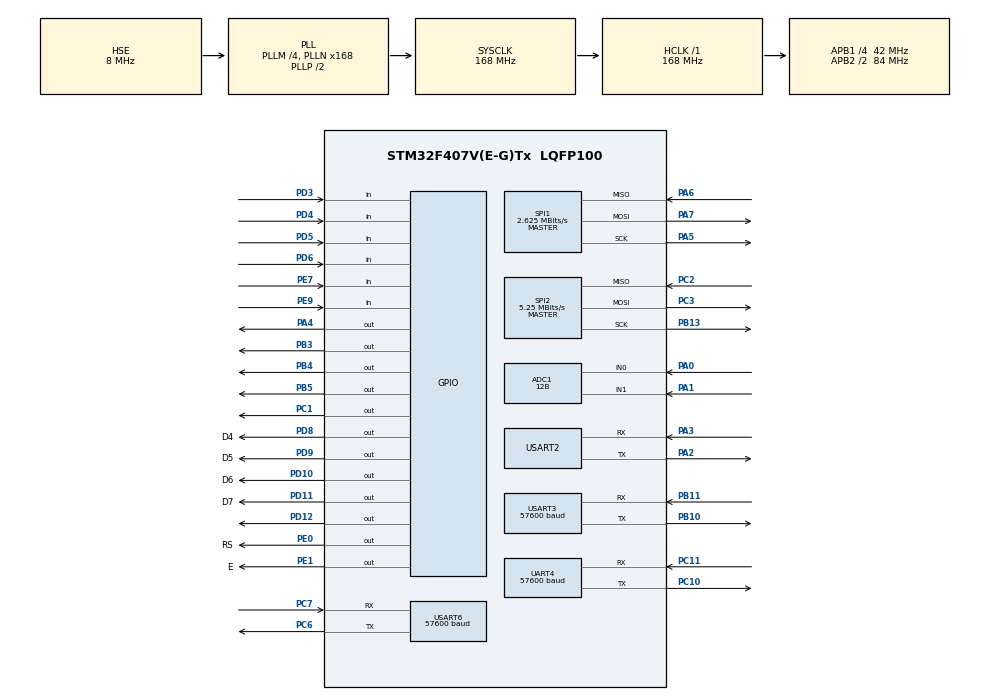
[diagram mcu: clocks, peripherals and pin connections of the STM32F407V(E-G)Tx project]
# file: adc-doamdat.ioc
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ADC1.Channel-1\#ChannelRegularConversion=ADC_CHANNEL_0
ADC1.Channel-2\#ChannelRegularConversion=ADC_CHANNEL_1
ADC1.ContinuousConvMode=ENABLE
ADC1.DMAContinuousRequests=ENABLE
ADC1.EOCSelection=ADC_EOC_SINGLE_CONV
ADC1.EnableAnalogWatchDog=false
ADC1.NbrOfConversion=2
ADC1.NbrOfConversionFlag=1
ADC1.Rank-1\#ChannelRegularConversion=1
ADC1.Rank-2\#ChannelRegularConversion=2
ADC1.Resolution=ADC_RESOLUTION_12B
ADC1.SamplingTime-1\#ChannelRegularConversion=ADC_SAMPLETIME_480CYCLES
ADC1.SamplingTime-2\#ChannelRegularConversion=ADC_SAMPLETIME_480CYCLES
ADC1.master=1
Dma.ADC1.0.Direction=DMA_PERIPH_TO_MEMORY
Dma.ADC1.0.FIFOMode=DMA_FIFOMODE_DISABLE
Dma.ADC1.0.Instance=DMA2_Stream0
Dma.ADC1.0.MemDataAlignment=DMA_MDATAALIGN_HALFWORD
Dma.ADC1.0.MemInc=DMA_MINC_ENABLE
Dma.ADC1.0.Mode=DMA_CIRCULAR
Dma.ADC1.0.PeriphDataAlignment=DMA_PDATAALIGN_HALFWORD
Dma.ADC1.0.PeriphInc=DMA_PINC_DISABLE
Dma.ADC1.0.Priority=DMA_PRIORITY_LOW
Dma.Request0=ADC1
FATFS._MAX_SS=4096
FATFS._USE_LFN=1
Mcu.Family=STM32F4
Mcu.Name=STM32F407V(E-G)Tx
Mcu.Package=LQFP100
NVIC.ADC_IRQn=true\:0\:0\:false\:false\:true\:true\:true
NVIC.DMA2_Stream0_IRQn=true\:0\:0\:false\:false\:true\:false\:true
NVIC.PriorityGroup=NVIC_PRIORITYGROUP_4
NVIC.TIM6_DAC_IRQn=true\:0\:0\:false\:false\:true\:false\:true
NVIC.TimeBase=TIM6_DAC_IRQn
NVIC.TimeBaseIP=TIM6
PA0-WKUP.Signal=ADCx_IN0
PA1.Signal=ADCx_IN1
PA13.Mode=Serial_Wire
PA13.Signal=SYS_JTMS-SWDIO
PA14.Mode=Serial_Wire
PA14.Signal=SYS_JTCK-SWCLK
PA2.Mode=Asynchronous
PA2.Signal=USART2_TX
PA3.Mode=Asynchronous
PA3.Signal=USART2_RX
PA4.Signal=GPIO_Output
PA5.Mode=Full_Duplex_Master
PA5.Signal=SPI1_SCK
PA6.Mode=Full_Duplex_Master
PA6.Signal=SPI1_MISO
PA7.Mode=Full_Duplex_Master
PA7.Signal=SPI1_MOSI
PB10.Mode=Asynchronous
PB10.Signal=USART3_TX
PB11.Mode=Asynchronous
PB11.Signal=USART3_RX
PB13.Mode=Full_Duplex_Master
PB13.Signal=SPI2_SCK
PB3.Signal=GPIO_Output
PB4.Signal=GPIO_Output
PB5.Signal=GPIO_Output
PC1.Signal=GPIO_Output
PC10.Mode=Asynchronous
PC10.Signal=UART4_TX
PC11.Mode=Asynchronous
PC11.Signal=UART4_RX
PC2.Mode=Full_Duplex_Master
PC2.Signal=SPI2_MISO
PC3.Mode=Full_Duplex_Master
PC3.Signal=SPI2_MOSI
PC6.Mode=Asynchronous
PC6.Signal=USART6_TX
PC7.Mode=Asynchronous
PC7.Signal=USART6_RX
PD10.GPIO_Label=D6
PD10.Signal=GPIO_Output
PD11.GPIO_Label=D7
PD11.Signal=GPIO_Output
PD12.Signal=GPIO_Output
PD3.Signal=GPIO_Input
PD4.Signal=GPIO_Input
PD5.Signal=GPIO_Input
PD6.Signal=GPIO_Input
PD8.GPIO_Label=D4
PD8.Signal=GPIO_Output
PD9.GPIO_Label=D5
PD9.Signal=GPIO_Output
PE0.GPIO_Label=RS
PE0.Signal=GPIO_Output
PE1.GPIO_Label=E
PE1.Signal=GPIO_Output
PE7.Signal=GPIO_Input
PE9.Signal=GPIO_Input
PH0-OSC_IN.Mode=HSE-External-Oscillator
PH0-OSC_IN.Signal=RCC_OSC_IN
PH1-OSC_OUT.Mode=HSE-External-Oscillator
PH1-OSC_OUT.Signal=RCC_OSC_OUT
ProjectManager.HeapSize=0x200
ProjectManager.StackSize=0x400
ProjectManager.TargetToolchain=MDK-ARM V5
RCC.48MHZClocksFreq_Value=84000000
RCC.AHBFreq_Value=168000000
RCC.APB1CLKDivider=RCC_HCLK_DIV4
RCC.APB1Freq_Value=42000000
RCC.APB1TimFreq_Value=84000000
RCC.APB2CLKDivider=RCC_HCLK_DIV2
RCC.APB2Freq_Value=84000000
RCC.APB2TimFreq_Value=168000000
RCC.CortexFreq_Value=168000000
RCC.HCLKFreq_Value=168000000
RCC.HSE_VALUE=8000000
RCC.HSI_VALUE=16000000
RCC.LSE_VALUE=32768
RCC.PLLM=4
RCC.PLLN=168
RCC.PLLSourceVirtual=RCC_PLLSOURCE_HSE
RCC.SYSCLKFreq_VALUE=168000000
RCC.SYSCLKSource=RCC_SYSCLKSOURCE_PLLCLK
RCC.VCOOutputFreq_Value=336000000
RTC.Format=RTC_FORMAT_BIN
RTC.Hours=23
RTC.Minutes=59
RTC.Seconds=45
SH.ADCx_IN0.0=ADC1_IN0,IN0
SH.ADCx_IN1.0=ADC1_IN1,IN1
SPI1.BaudRatePrescaler=SPI_BAUDRATEPRESCALER_32
SPI1.CalculateBaudRate=2.625 MBits/s
SPI1.Direction=SPI_DIRECTION_2LINES
SPI1.Mode=SPI_MODE_MASTER
SPI1.VirtualType=VM_MASTER
SPI2.BaudRatePrescaler=SPI_BAUDRATEPRESCALER_8
SPI2.CalculateBaudRate=5.25 MBits/s
SPI2.Direction=SPI_DIRECTION_2LINES
SPI2.Mode=SPI_MODE_MASTER
SPI2.VirtualType=VM_MASTER
UART4.BaudRate=57600
UART4.VirtualMode=Asynchronous
USART2.VirtualMode=VM_ASYNC
USART3.BaudRate=57600
USART3.VirtualMode=VM_ASYNC
USART6.BaudRate=57600
USART6.VirtualMode=VM_ASYNC
VP_FATFS_VS_Generic.Mode=User_defined
VP_RTC_VS_RTC_Activate.Mode=RTC_Enabled
VP_RTC_VS_RTC_Calendar.Mode=RTC_Calendar
VP_SYS_VS_tim6.Mode=TIM6
board=custom

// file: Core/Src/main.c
/* USER CODE BEGIN Header */
/**
  ******************************************************************************
  * @file           : main.c
  * @brief          : Main program body
  ******************************************************************************
  * @attention
  *
  * <h2><center>&copy; Copyright (c) 2021 STMicroelectronics.
  * All rights reserved.</center></h2>
  *
  * This software component is licensed by ST under BSD 3-Clause license,
  * the "License"; You may not use this file except in compliance with the
  * License. You may obtain a copy of the License at:
  *                        opensource.org/licenses/BSD-3-Clause
  *
  ******************************************************************************
  */
/* USER CODE END Header */
#include "main.h"
#include "fatfs.h"

/* USER CODE BEGIN Includes */
#include "stdio.h"
#include "string.h"
#include "bsp_dht11.h"
#include "R305.h"
#include "stdio.h"
#include "stm32f4xx_hal.h"
#include "rc522.h"
#include "STM_MY_LCD16X2.h"
#include "fatfs_sd.h"
/* USER CODE END Includes */

/* USER CODE BEGIN PD */
/// RFID
unsigned char CardID[5];
unsigned char MyID1[5] = {0x87, 0xD5, 0x89, 0xC9, 0x12};
unsigned char MyID2[5] = {0x67, 0xD1, 0x01, 0xD9, 0x6E};
unsigned char MyID3[5] = {0x09, 0xA1, 0x51, 0xB3, 0x4A};
uint8_t dataUDP_permit[]="Ma the hop le ";
uint8_t dataUDP_deny[]="Ma the khong hop le ";
char abd[50];
///THOI GIAN
uint8_t thu;
//VANTAY
uint8_t id=0;
int8_t y;
//CAC KY TU GUI LEN UART
char TG[40],TIMENAME[50];
char ngay[40],gio[40];
char name1[10]="Dung";
char name23[10]="Viet";
char name4[10]="Hung";
char n[3]="\n";
////KHAI BAO SDCARD
FATFS fs;
FATFS *pfs;
FIL fil;
FRESULT fres;
DWORD fre_clust;
uint32_t totalSpace, freeSpace;
UINT br, bw;
char buffer[100];
char hoang[50] ="vanchhshsjosdosdoo";
/* USER CODE END PD */

ADC_HandleTypeDef hadc1;
DMA_HandleTypeDef hdma_adc1;

RTC_HandleTypeDef hrtc;

SPI_HandleTypeDef hspi1;
SPI_HandleTypeDef hspi2;

UART_HandleTypeDef huart4;
UART_HandleTypeDef huart2;
UART_HandleTypeDef huart3;
UART_HandleTypeDef huart6;

/* USER CODE BEGIN PV */
volatile uint16_t a[2];
volatile uint16_t b[2];
 RTC_TimeTypeDef sTime;
 RTC_DateTypeDef sDate;
 RTC_AlarmTypeDef sAlarm;
/* USER CODE END PV */

void SystemClock_Config(void);
static void MX_GPIO_Init(void);
static void MX_DMA_Init(void);
static void MX_USART2_UART_Init(void);
static void MX_ADC1_Init(void);
static void MX_USART3_UART_Init(void);
static void MX_SPI1_Init(void);
static void MX_RTC_Init(void);
static void MX_USART6_UART_Init(void);
static void MX_UART4_Init(void);
static void MX_SPI2_Init(void);
/* USER CODE BEGIN PFP */
#ifdef __GNUC__
 /* With GCC/RAISONANCE, small printf (option LD Linker->Libraries->Small printf
 set to 'Yes') calls __io_putchar() */
 #define PUTCHAR_PROTOTYPE int __io_putchar(int ch)
#else
 #define PUTCHAR_PROTOTYPE int fputc(int ch, FILE *f)
#endif /* __GNUC__ */

 /**
 * @brief Retargets the C library printf function to the USART.
 * @param None
 * @retval None
 */
PUTCHAR_PROTOTYPE
{
 /* Place your implementation of fputc here */
 /* e.g. write a character to the USART */
 HAL_UART_Transmit(&huart2, (uint8_t *)&ch, 1, 100);

 return ch;
}
void send_uart (char *string)		// CT CON GUI UART CAC GTRI NHDO
{
	uint8_t len = strlen (string);
	HAL_UART_Transmit(&huart6, (uint8_t *) string, len, 1000);
}
void send_uart1 (char *string)		// CT CON GUI UART TEN DE DIEM DANH
{
	uint8_t len = strlen (string);
	HAL_UART_Transmit(&huart4, (uint8_t *) string, len, 1000);
}
void modevantay()///LCD
{LCD1602_clear();
LCD1602_1stLine();
LCD1602_print("DiemDanhVanTay");
}
void moderfid()///LCD
{LCD1602_clear();
LCD1602_1stLine();
LCD1602_print("DiemDanhRFID");
}
void modecontrol()
{
LCD1602_clear();
LCD1602_1stLine();
LCD1602_print("Garden-mode");
}

void tatthietbi()//////// mode 01
{HAL_GPIO_WritePin(GPIOB,GPIO_PIN_3,0);
	HAL_GPIO_WritePin(GPIOB,GPIO_PIN_4,0);
	HAL_GPIO_WritePin(GPIOB,GPIO_PIN_5,0);
}

void get_time()//laytg
{		HAL_RTC_GetTime(&hrtc,&sTime,RTC_FORMAT_BIN);
		HAL_RTC_GetDate(&hrtc,&sDate,RTC_FORMAT_BIN);
		thu=sDate.WeekDay +1;
		HAL_Delay(200);
}
void themvantay()
{
	if(verifyPassword() == 1 )
			{
				if(fingerEnroll(6) == 1)
										{
												HAL_Delay(1000);
										}
										else
										{

										HAL_Delay(1500);
										}
}
}
void set_time()
{ sTime.Hours = 8;
  sTime.Minutes = 40;
  sTime.Seconds = 0;
	HAL_RTC_SetTime(&hrtc,&sTime,RTC_FORMAT_BIN);
	//set date
	sDate.WeekDay = 4;
  sDate.Month = 8;
  sDate.Date = 12;
  sDate.Year = 21;
	HAL_RTC_SetDate(&hrtc,&sDate,RTC_FORMAT_BIN);
}
void hienthidefaut()////LCD
{
	LCD1602_clear();
	get_time();
	sprintf(gio,"%02d.%02d.%02d",sTime.Hours,sTime.Minutes,sTime.Seconds);
	sprintf(ngay,"T%d-%02d-%02d-%02d ",thu,sDate.Date,sDate.Month,sDate.Year);
	LCD1602_1stLine();
	LCD1602_print(gio);
	LCD1602_2ndLine();
	LCD1602_print(ngay);
	HAL_Delay(2000);
}
int bufsize (char *buf)/////ham dem ky tu
{
	int i=0;
	while (*buf++ != '\0') i++;
	return i;
}
void luusdcard()
{
	fres = f_mount(&fs, "", 0);
fres = f_open(&fil, "log-file.txt", FA_OPEN_APPEND | FA_WRITE | FA_READ);
fres = f_write(&fil, TIMENAME, bufsize(TIMENAME), &bw);
fres = f_close(&fil);
f_mount(NULL, "", 1);
}
/* USER CODE END PFP */

int main(void)
{
  /* USER CODE BEGIN 1 */
DHT11_DATA_TypeDef DHT11_DATA ;
  /* USER CODE END 1 */

  /* MCU Configuration--------------------------------------------------------*/

  /* Reset of all peripherals, Initializes the Flash interface and the Systick. */
  HAL_Init();

  /* Configure the system clock */
  SystemClock_Config();

  /* Initialize all configured peripherals */
  MX_GPIO_Init();
  MX_DMA_Init();
  MX_USART2_UART_Init();
  MX_ADC1_Init();
  MX_USART3_UART_Init();
  MX_SPI1_Init();
  MX_RTC_Init();
  MX_USART6_UART_Init();
  MX_UART4_Init();
  MX_SPI2_Init();
  MX_FATFS_Init();
  /* USER CODE BEGIN 2 */
	set_time();
	DHT11_Init();
	UART3_FINGER_Init();
	LCD1602_Begin4BIT(RS_GPIO_Port,RS_Pin,E_Pin,D4_GPIO_Port,D4_Pin,D5_Pin,D6_Pin,D7_Pin);
	LCD1602_noCursor();
	LCD1602_noBlink();
  /* USER CODE END 2 */

  /* Infinite loop */
  while (1)
  {

    /* USER CODE BEGIN 3 */

		if(HAL_GPIO_ReadPin(GPIOE,GPIO_PIN_7)==0 && HAL_GPIO_ReadPin(GPIOE,GPIO_PIN_9)==0)/////MODE gioithieu
		{
			hienthidefaut();
		}

	   if(HAL_GPIO_ReadPin(GPIOE,GPIO_PIN_7)==0 && HAL_GPIO_ReadPin(GPIOE,GPIO_PIN_9)==1)/////MODE VANTAY
		{
		tatthietbi();
		modevantay();

		//		HAL_Delay(1000);
					if(verifyPassword() == 1 )
						{
							y = fingerIDSearch();  // ID
							if(y == -1)
							{
								// LOI
								LCD1602_setCursor(2,1);
								LCD1602_print("loi                ");
								HAL_Delay(1000);
							}
							else if (y == -2)
							{
								// KHONG TIM THAY
								LCD1602_setCursor(2,1);
								LCD1602_print("loi ko tim thay ");
								HAL_Delay(1000);
							}
							else
							{
								get_time();
								sprintf(TG,".%02d.%02d.%02d-T%d-%02d-%02d-%02d ",sTime.Hours,sTime.Minutes,sTime.Seconds,thu,sDate.Date,sDate.Month,sDate.Year);
								if(y==1 || y==0)
								{strcpy(TIMENAME, name1);	// NOI CHUOI TEN VA THOI GIAN
									strcat(TIMENAME, TG);
									send_uart1(TIMENAME);
									strcat(TIMENAME, n);
									luusdcard();
									LCD1602_setCursor(2,1);
									LCD1602_print("found-Dung      ");
									HAL_Delay(2000);
								}

							  if(y==2 || y==3)
								{strcpy(TIMENAME, name23);	// NOI CHUOI TEN VA THOI GIAN
									strcat(TIMENAME, TG);
									send_uart1(TIMENAME);
									strcat(TIMENAME, n);
									luusdcard();
									LCD1602_setCursor(2,1);
									LCD1602_print("found-Viet      ");
									HAL_Delay(2000);
								}
								if(y==4 || y==5 || y==6)
								{strcpy(TIMENAME, name4);	// NOI CHUOI TEN VA THOI GIAN
									strcat(TIMENAME, TG);
									send_uart1(TIMENAME);
									strcat(TIMENAME, n);
									luusdcard();
									LCD1602_setCursor(2,1);
									LCD1602_print("found-Hung      ");
									HAL_Delay(2000);
								}
							}
					}
	}
	else if(HAL_GPIO_ReadPin(GPIOE,GPIO_PIN_7)==1 && HAL_GPIO_ReadPin(GPIOE,GPIO_PIN_9)==1)
	{
		modecontrol();
		if(Read_TempAndHumidity (&DHT11_DATA)==SUCCESS)
		{
		HAL_ADC_Start_DMA(&hadc1,(uint32_t*)a,2);
		HAL_Delay(500);
		}
		else
		{LCD1602_print("loi me r");
		}
		b[1]=(((a[1]-2100)*100)/1995)-1;
		b[0]=(((a[0]-20)*100)/4075)-1;
			sprintf(abd, "%02d-%02d-%02d-%02d",b[0],b[1],DHT11_DATA.temp_int,DHT11_DATA.humi_int);
			send_uart(abd);
			HAL_Delay(2000);
		if(HAL_GPIO_ReadPin(GPIOD,GPIO_PIN_3)==0) //che do tu dong
		{
				if(b[1]>60)////MAY BOM
			HAL_GPIO_WritePin(GPIOB,GPIO_PIN_3,1);
				else
			HAL_GPIO_WritePin(GPIOB,GPIO_PIN_3,0);
				if(b[0]>65)///DEN
			HAL_GPIO_WritePin(GPIOB,GPIO_PIN_5,1);
				else HAL_GPIO_WritePin(GPIOB,GPIO_PIN_5,0);
				if(DHT11_DATA.temp_int>33)///QUAT
					HAL_GPIO_WritePin(GPIOB,GPIO_PIN_4,1);
				else HAL_GPIO_WritePin(GPIOB,GPIO_PIN_4,0);
		}
		else if(HAL_GPIO_ReadPin(GPIOD,GPIO_PIN_3)==1) //che do control
		{
			if(HAL_GPIO_ReadPin(GPIOD,GPIO_PIN_4)==1)////may bom
				HAL_GPIO_WritePin(GPIOB,GPIO_PIN_3,1);
			else if(HAL_GPIO_ReadPin(GPIOD,GPIO_PIN_4)==0)
				HAL_GPIO_WritePin(GPIOB,GPIO_PIN_3,0);

			if(HAL_GPIO_ReadPin(GPIOD,GPIO_PIN_5)==1)//////den
				HAL_GPIO_WritePin(GPIOB,GPIO_PIN_5,1);
			else if(HAL_GPIO_ReadPin(GPIOD,GPIO_PIN_5)==0)
				HAL_GPIO_WritePin(GPIOB,GPIO_PIN_5,0);

			if(HAL_GPIO_ReadPin(GPIOD,GPIO_PIN_6)==1)//////quat
				HAL_GPIO_WritePin(GPIOB,GPIO_PIN_4,1);
			else if(HAL_GPIO_ReadPin(GPIOD,GPIO_PIN_6)==0)
				HAL_GPIO_WritePin(GPIOB,GPIO_PIN_4,0);
		}
	}
		else if(HAL_GPIO_ReadPin(GPIOE,GPIO_PIN_7)==1 && HAL_GPIO_ReadPin(GPIOE,GPIO_PIN_9)==0)///mode rfid
		{
			moderfid();
			MFRC522_Init();
			if (MFRC522_Check(CardID) == MI_OK) ///RFID
			{
				if (MFRC522_Compare(CardID, MyID1) == MI_OK)
				{
				get_time();
				sprintf(TG,".%02d.%02d.%02d-T%d-%02d-%02d-%02d ",sTime.Hours,sTime.Minutes,sTime.Seconds,thu,sDate.Date,sDate.Month,sDate.Year);
					LCD1602_setCursor(2,1);
					LCD1602_print("found-Dung      ");
					strcpy(TIMENAME, name1);	// NOI CHUOI TEN VA THOI GIAN
					strcat(TIMENAME, TG);
					send_uart1(TIMENAME);
					strcat(TIMENAME, n);
					luusdcard();
					HAL_Delay(2000);
				}
				else if (MFRC522_Compare(CardID, MyID2) == MI_OK)
				{
				get_time();
				sprintf(TG,".%02d.%02d.%02d-T%d-%02d-%02d-%02d ",sTime.Hours,sTime.Minutes,sTime.Seconds,thu,sDate.Date,sDate.Month,sDate.Year);
					LCD1602_setCursor(2,1);
					LCD1602_print("found-Viet      ");
					strcpy(TIMENAME, name23);	// NOI CHUOI TEN VA THOI GIAN
					strcat(TIMENAME, TG);
					send_uart1(TIMENAME);
					strcat(TIMENAME, n);
					luusdcard();
					HAL_Delay(2000);
				}
				else if (MFRC522_Compare(CardID, MyID3) == MI_OK)
				{
				get_time();
				sprintf(TG,".%02d.%02d.%02d-T%d-%02d-%02d-%02d ",sTime.Hours,sTime.Minutes,sTime.Seconds,thu,sDate.Date,sDate.Month,sDate.Year);
					LCD1602_setCursor(2,1);
					LCD1602_print("found-Hung      ");
					strcpy(TIMENAME, name4);	// NOI CHUOI TEN VA THOI GIAN
					strcat(TIMENAME, TG);
					send_uart1(TIMENAME);
					strcat(TIMENAME, n);
					luusdcard();
					HAL_Delay(2000);
				}
				else
				{
					LCD1602_setCursor(2,1);
					LCD1602_print("not found       ");
					HAL_Delay(2000);
				}
			}

		  HAL_Delay(2000);
		}

  }

  /* USER CODE END 3 */
}

void SystemClock_Config(void)
{
  RCC_OscInitTypeDef RCC_OscInitStruct = {0};
  RCC_ClkInitTypeDef RCC_ClkInitStruct = {0};
  RCC_PeriphCLKInitTypeDef PeriphClkInitStruct = {0};

  /** Configure the main internal regulator output voltage
  */
  __HAL_RCC_PWR_CLK_ENABLE();
  __HAL_PWR_VOLTAGESCALING_CONFIG(PWR_REGULATOR_VOLTAGE_SCALE1);
  /** Initializes the RCC Oscillators according to the specified parameters
  * in the RCC_OscInitTypeDef structure.
  */
  RCC_OscInitStruct.OscillatorType = RCC_OSCILLATORTYPE_LSI|RCC_OSCILLATORTYPE_HSE;
  RCC_OscInitStruct.HSEState = RCC_HSE_ON;
  RCC_OscInitStruct.LSIState = RCC_LSI_ON;
  RCC_OscInitStruct.PLL.PLLState = RCC_PLL_ON;
  RCC_OscInitStruct.PLL.PLLSource = RCC_PLLSOURCE_HSE;
  RCC_OscInitStruct.PLL.PLLM = 4;
  RCC_OscInitStruct.PLL.PLLN = 168;
  RCC_OscInitStruct.PLL.PLLP = RCC_PLLP_DIV2;
  RCC_OscInitStruct.PLL.PLLQ = 4;
  if (HAL_RCC_OscConfig(&RCC_OscInitStruct) != HAL_OK)
  {
    Error_Handler();
  }
  /** Initializes the CPU, AHB and APB buses clocks
  */
  RCC_ClkInitStruct.ClockType = RCC_CLOCKTYPE_HCLK|RCC_CLOCKTYPE_SYSCLK
                              |RCC_CLOCKTYPE_PCLK1|RCC_CLOCKTYPE_PCLK2;
  RCC_ClkInitStruct.SYSCLKSource = RCC_SYSCLKSOURCE_PLLCLK;
  RCC_ClkInitStruct.AHBCLKDivider = RCC_SYSCLK_DIV1;
  RCC_ClkInitStruct.APB1CLKDivider = RCC_HCLK_DIV4;
  RCC_ClkInitStruct.APB2CLKDivider = RCC_HCLK_DIV2;

  if (HAL_RCC_ClockConfig(&RCC_ClkInitStruct, FLASH_LATENCY_5) != HAL_OK)
  {
    Error_Handler();
  }
  PeriphClkInitStruct.PeriphClockSelection = RCC_PERIPHCLK_RTC;
  PeriphClkInitStruct.RTCClockSelection = RCC_RTCCLKSOURCE_LSI;
  if (HAL_RCCEx_PeriphCLKConfig(&PeriphClkInitStruct) != HAL_OK)
  {
    Error_Handler();
  }
}

static void MX_ADC1_Init(void)
{

  ADC_ChannelConfTypeDef sConfig = {0};

  /** Configure the global features of the ADC (Clock, Resolution, Data Alignment and number of conversion)
  */
  hadc1.Instance = ADC1;
  hadc1.Init.ClockPrescaler = ADC_CLOCK_SYNC_PCLK_DIV4;
  hadc1.Init.Resolution = ADC_RESOLUTION_12B;
  hadc1.Init.ScanConvMode = ENABLE;
  hadc1.Init.ContinuousConvMode = ENABLE;
  hadc1.Init.DiscontinuousConvMode = DISABLE;
  hadc1.Init.ExternalTrigConvEdge = ADC_EXTERNALTRIGCONVEDGE_NONE;
  hadc1.Init.ExternalTrigConv = ADC_SOFTWARE_START;
  hadc1.Init.DataAlign = ADC_DATAALIGN_RIGHT;
  hadc1.Init.NbrOfConversion = 2;
  hadc1.Init.DMAContinuousRequests = ENABLE;
  hadc1.Init.EOCSelection = ADC_EOC_SINGLE_CONV;
  if (HAL_ADC_Init(&hadc1) != HAL_OK)
  {
    Error_Handler();
  }
  /** Configure for the selected ADC regular channel its corresponding rank in the sequencer and its sample time.
  */
  sConfig.Channel = ADC_CHANNEL_0;
  sConfig.Rank = 1;
  sConfig.SamplingTime = ADC_SAMPLETIME_480CYCLES;
  if (HAL_ADC_ConfigChannel(&hadc1, &sConfig) != HAL_OK)
  {
    Error_Handler();
  }
  /** Configure for the selected ADC regular channel its corresponding rank in the sequencer and its sample time.
  */
  sConfig.Channel = ADC_CHANNEL_1;
  sConfig.Rank = 2;
  if (HAL_ADC_ConfigChannel(&hadc1, &sConfig) != HAL_OK)
  {
    Error_Handler();
  }

}

static void MX_RTC_Init(void)
{

  RTC_TimeTypeDef sTime = {0};
  RTC_DateTypeDef sDate = {0};

  /** Initialize RTC Only
  */
  hrtc.Instance = RTC;
  hrtc.Init.HourFormat = RTC_HOURFORMAT_24;
  hrtc.Init.AsynchPrediv = 127;
  hrtc.Init.SynchPrediv = 255;
  hrtc.Init.OutPut = RTC_OUTPUT_DISABLE;
  hrtc.Init.OutPutPolarity = RTC_OUTPUT_POLARITY_HIGH;
  hrtc.Init.OutPutType = RTC_OUTPUT_TYPE_OPENDRAIN;
  if (HAL_RTC_Init(&hrtc) != HAL_OK)
  {
    Error_Handler();
  }

  /** Initialize RTC and set the Time and Date
  */
  sTime.Hours = 23;
  sTime.Minutes = 59;
  sTime.Seconds = 45;
  sTime.DayLightSaving = RTC_DAYLIGHTSAVING_NONE;
  sTime.StoreOperation = RTC_STOREOPERATION_RESET;
  if (HAL_RTC_SetTime(&hrtc, &sTime, RTC_FORMAT_BIN) != HAL_OK)
  {
    Error_Handler();
  }
  sDate.WeekDay = RTC_WEEKDAY_MONDAY;
  sDate.Month = RTC_MONTH_JANUARY;
  sDate.Date = 1;
  sDate.Year = 0;

  if (HAL_RTC_SetDate(&hrtc, &sDate, RTC_FORMAT_BIN) != HAL_OK)
  {
    Error_Handler();
  }

}

static void MX_SPI1_Init(void)
{

  /* SPI1 parameter configuration*/
  hspi1.Instance = SPI1;
  hspi1.Init.Mode = SPI_MODE_MASTER;
  hspi1.Init.Direction = SPI_DIRECTION_2LINES;
  hspi1.Init.DataSize = SPI_DATASIZE_8BIT;
  hspi1.Init.CLKPolarity = SPI_POLARITY_LOW;
  hspi1.Init.CLKPhase = SPI_PHASE_1EDGE;
  hspi1.Init.NSS = SPI_NSS_SOFT;
  hspi1.Init.BaudRatePrescaler = SPI_BAUDRATEPRESCALER_32;
  hspi1.Init.FirstBit = SPI_FIRSTBIT_MSB;
  hspi1.Init.TIMode = SPI_TIMODE_DISABLE;
  hspi1.Init.CRCCalculation = SPI_CRCCALCULATION_DISABLE;
  hspi1.Init.CRCPolynomial = 10;
  if (HAL_SPI_Init(&hspi1) != HAL_OK)
  {
    Error_Handler();
  }

}

static void MX_SPI2_Init(void)
{

  /* SPI2 parameter configuration*/
  hspi2.Instance = SPI2;
  hspi2.Init.Mode = SPI_MODE_MASTER;
  hspi2.Init.Direction = SPI_DIRECTION_2LINES;
  hspi2.Init.DataSize = SPI_DATASIZE_8BIT;
  hspi2.Init.CLKPolarity = SPI_POLARITY_LOW;
  hspi2.Init.CLKPhase = SPI_PHASE_1EDGE;
  hspi2.Init.NSS = SPI_NSS_SOFT;
  hspi2.Init.BaudRatePrescaler = SPI_BAUDRATEPRESCALER_8;
  hspi2.Init.FirstBit = SPI_FIRSTBIT_MSB;
  hspi2.Init.TIMode = SPI_TIMODE_DISABLE;
  hspi2.Init.CRCCalculation = SPI_CRCCALCULATION_DISABLE;
  hspi2.Init.CRCPolynomial = 10;
  if (HAL_SPI_Init(&hspi2) != HAL_OK)
  {
    Error_Handler();
  }

}

static void MX_UART4_Init(void)
{

  huart4.Instance = UART4;
  huart4.Init.BaudRate = 57600;
  huart4.Init.WordLength = UART_WORDLENGTH_8B;
  huart4.Init.StopBits = UART_STOPBITS_1;
  huart4.Init.Parity = UART_PARITY_NONE;
  huart4.Init.Mode = UART_MODE_TX_RX;
  huart4.Init.HwFlowCtl = UART_HWCONTROL_NONE;
  huart4.Init.OverSampling = UART_OVERSAMPLING_16;
  if (HAL_UART_Init(&huart4) != HAL_OK)
  {
    Error_Handler();
  }

}

static void MX_USART2_UART_Init(void)
{

  huart2.Instance = USART2;
  huart2.Init.BaudRate = 115200;
  huart2.Init.WordLength = UART_WORDLENGTH_8B;
  huart2.Init.StopBits = UART_STOPBITS_1;
  huart2.Init.Parity = UART_PARITY_NONE;
  huart2.Init.Mode = UART_MODE_TX_RX;
  huart2.Init.HwFlowCtl = UART_HWCONTROL_NONE;
  huart2.Init.OverSampling = UART_OVERSAMPLING_16;
  if (HAL_UART_Init(&huart2) != HAL_OK)
  {
    Error_Handler();
  }

}

static void MX_USART3_UART_Init(void)
{

  huart3.Instance = USART3;
  huart3.Init.BaudRate = 57600;
  huart3.Init.WordLength = UART_WORDLENGTH_8B;
  huart3.Init.StopBits = UART_STOPBITS_1;
  huart3.Init.Parity = UART_PARITY_NONE;
  huart3.Init.Mode = UART_MODE_TX_RX;
  huart3.Init.HwFlowCtl = UART_HWCONTROL_NONE;
  huart3.Init.OverSampling = UART_OVERSAMPLING_16;
  if (HAL_UART_Init(&huart3) != HAL_OK)
  {
    Error_Handler();
  }

}

static void MX_USART6_UART_Init(void)
{

  huart6.Instance = USART6;
  huart6.Init.BaudRate = 57600;
  huart6.Init.WordLength = UART_WORDLENGTH_8B;
  huart6.Init.StopBits = UART_STOPBITS_1;
  huart6.Init.Parity = UART_PARITY_NONE;
  huart6.Init.Mode = UART_MODE_TX_RX;
  huart6.Init.HwFlowCtl = UART_HWCONTROL_NONE;
  huart6.Init.OverSampling = UART_OVERSAMPLING_16;
  if (HAL_UART_Init(&huart6) != HAL_OK)
  {
    Error_Handler();
  }

}

static void MX_DMA_Init(void)
{

  /* DMA controller clock enable */
  __HAL_RCC_DMA2_CLK_ENABLE();

  /* DMA interrupt init */
  /* DMA2_Stream0_IRQn interrupt configuration */
  HAL_NVIC_SetPriority(DMA2_Stream0_IRQn, 0, 0);
  HAL_NVIC_EnableIRQ(DMA2_Stream0_IRQn);

}

static void MX_GPIO_Init(void)
{
  GPIO_InitTypeDef GPIO_InitStruct = {0};

  /* GPIO Ports Clock Enable */
  __HAL_RCC_GPIOH_CLK_ENABLE();
  __HAL_RCC_GPIOC_CLK_ENABLE();
  __HAL_RCC_GPIOA_CLK_ENABLE();
  __HAL_RCC_GPIOE_CLK_ENABLE();
  __HAL_RCC_GPIOB_CLK_ENABLE();
  __HAL_RCC_GPIOD_CLK_ENABLE();

  /*Configure GPIO pin Output Level */
  HAL_GPIO_WritePin(GPIOC, GPIO_PIN_1, GPIO_PIN_RESET);

  /*Configure GPIO pin Output Level */
  HAL_GPIO_WritePin(GPIOA, GPIO_PIN_4, GPIO_PIN_RESET);

  /*Configure GPIO pin Output Level */
  HAL_GPIO_WritePin(GPIOD, D4_Pin|D5_Pin|D6_Pin|D7_Pin
                          |GPIO_PIN_12, GPIO_PIN_RESET);

  /*Configure GPIO pin Output Level */
  HAL_GPIO_WritePin(GPIOB, GPIO_PIN_3|GPIO_PIN_4|GPIO_PIN_5, GPIO_PIN_RESET);

  /*Configure GPIO pin Output Level */
  HAL_GPIO_WritePin(GPIOE, RS_Pin|E_Pin, GPIO_PIN_RESET);

  /*Configure GPIO pin : PC1 */
  GPIO_InitStruct.Pin = GPIO_PIN_1;
  GPIO_InitStruct.Mode = GPIO_MODE_OUTPUT_PP;
  GPIO_InitStruct.Pull = GPIO_NOPULL;
  GPIO_InitStruct.Speed = GPIO_SPEED_FREQ_LOW;
  HAL_GPIO_Init(GPIOC, &GPIO_InitStruct);

  /*Configure GPIO pin : PA4 */
  GPIO_InitStruct.Pin = GPIO_PIN_4;
  GPIO_InitStruct.Mode = GPIO_MODE_OUTPUT_PP;
  GPIO_InitStruct.Pull = GPIO_NOPULL;
  GPIO_InitStruct.Speed = GPIO_SPEED_FREQ_LOW;
  HAL_GPIO_Init(GPIOA, &GPIO_InitStruct);

  /*Configure GPIO pins : PE7 PE9 */
  GPIO_InitStruct.Pin = GPIO_PIN_7|GPIO_PIN_9;
  GPIO_InitStruct.Mode = GPIO_MODE_INPUT;
  GPIO_InitStruct.Pull = GPIO_NOPULL;
  HAL_GPIO_Init(GPIOE, &GPIO_InitStruct);

  /*Configure GPIO pins : D4_Pin D5_Pin D6_Pin D7_Pin
                           PD12 */
  GPIO_InitStruct.Pin = D4_Pin|D5_Pin|D6_Pin|D7_Pin
                          |GPIO_PIN_12;
  GPIO_InitStruct.Mode = GPIO_MODE_OUTPUT_PP;
  GPIO_InitStruct.Pull = GPIO_NOPULL;
  GPIO_InitStruct.Speed = GPIO_SPEED_FREQ_LOW;
  HAL_GPIO_Init(GPIOD, &GPIO_InitStruct);

  /*Configure GPIO pins : PD3 PD4 PD5 PD6 */
  GPIO_InitStruct.Pin = GPIO_PIN_3|GPIO_PIN_4|GPIO_PIN_5|GPIO_PIN_6;
  GPIO_InitStruct.Mode = GPIO_MODE_INPUT;
  GPIO_InitStruct.Pull = GPIO_NOPULL;
  HAL_GPIO_Init(GPIOD, &GPIO_InitStruct);

  /*Configure GPIO pins : PB3 PB4 PB5 */
  GPIO_InitStruct.Pin = GPIO_PIN_3|GPIO_PIN_4|GPIO_PIN_5;
  GPIO_InitStruct.Mode = GPIO_MODE_OUTPUT_PP;
  GPIO_InitStruct.Pull = GPIO_NOPULL;
  GPIO_InitStruct.Speed = GPIO_SPEED_FREQ_LOW;
  HAL_GPIO_Init(GPIOB, &GPIO_InitStruct);

  /*Configure GPIO pins : RS_Pin E_Pin */
  GPIO_InitStruct.Pin = RS_Pin|E_Pin;
  GPIO_InitStruct.Mode = GPIO_MODE_OUTPUT_PP;
  GPIO_InitStruct.Pull = GPIO_NOPULL;
  GPIO_InitStruct.Speed = GPIO_SPEED_FREQ_LOW;
  HAL_GPIO_Init(GPIOE, &GPIO_InitStruct);

}

 /**
  * @brief  Period elapsed callback in non blocking mode
  * @note   This function is called  when TIM6 interrupt took place, inside
  * HAL_TIM_IRQHandler(). It makes a direct call to HAL_IncTick() to increment
  * a global variable "uwTick" used as application time base.
  * @param  htim : TIM handle
  * @retval None
  */
void HAL_TIM_PeriodElapsedCallback(TIM_HandleTypeDef *htim)
{
  if (htim->Instance == TIM6) {
    HAL_IncTick();
  }
}

void Error_Handler(void)
{
  __disable_irq();
  while (1)
  {
  }
}

/************************ (C) COPYRIGHT STMicroelectronics *****END OF FILE****/
